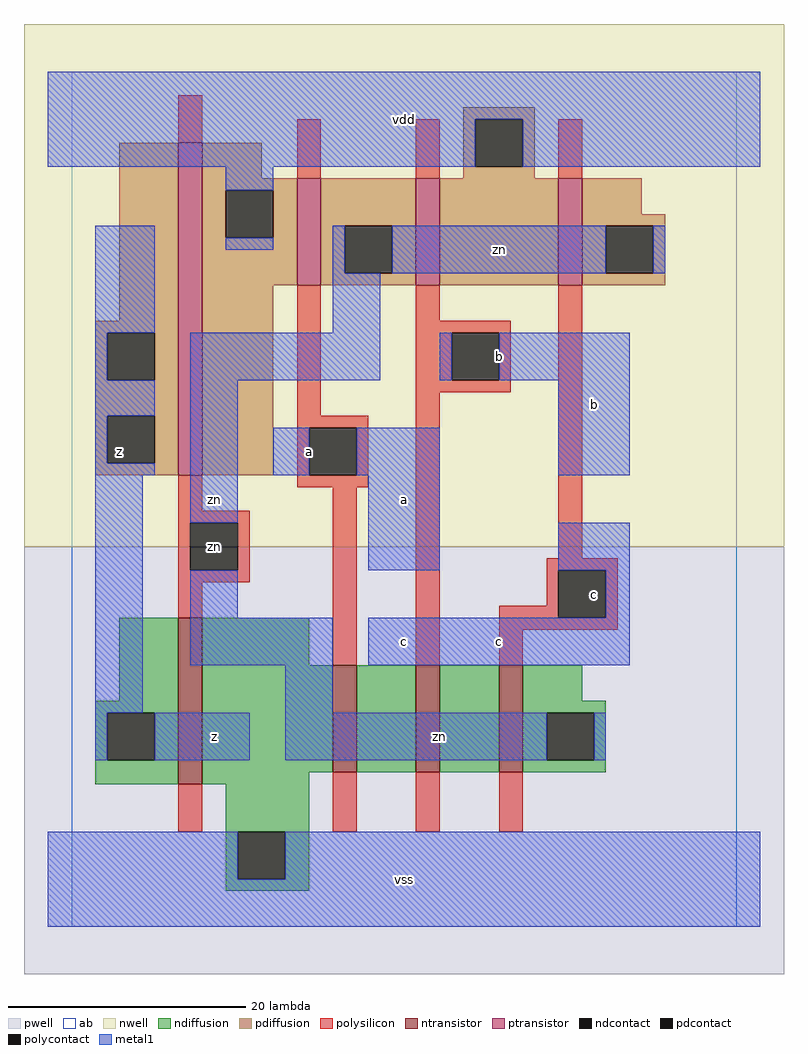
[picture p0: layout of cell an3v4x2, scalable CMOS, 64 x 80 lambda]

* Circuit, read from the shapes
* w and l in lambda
.subckt an3v4x2 a b c vdd vss z zn
M1 vss zn z VSUBS nfet w=14 l=2
M2 n1 a vss VSUBS nfet w=9 l=2
M3 n2 b n1 VSUBS nfet w=9 l=2
M4 zn c n2 VSUBS nfet w=9 l=2
M5 vdd zn z n3 pfet w=28 l=2
M6 zn a vdd n3 pfet w=9 l=2
M7 vdd b zn n3 pfet w=9 l=2
M8 zn c vdd n3 pfet w=9 l=2
.ends

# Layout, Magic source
magic
tech scmos
<< ab >>
rect 0 0 56 72
<< pwell >>
rect -4 -4 60 32
<< nwell >>
rect -4 32 60 76
<< polysilicon >>
rect 9 66 11 70
rect 19 63 21 68
rect 29 63 31 68
rect 41 63 43 68
rect 19 43 21 54
rect 29 51 31 54
rect 29 50 37 51
rect 29 46 32 50
rect 36 46 37 50
rect 29 45 37 46
rect 19 42 25 43
rect 19 38 20 42
rect 24 38 25 42
rect 9 35 11 38
rect 19 37 25 38
rect 9 34 15 35
rect 9 30 10 34
rect 14 30 15 34
rect 9 29 15 30
rect 9 26 11 29
rect 22 22 24 37
rect 29 22 31 45
rect 41 31 43 54
rect 40 30 46 31
rect 40 27 41 30
rect 36 26 41 27
rect 45 26 46 30
rect 36 25 46 26
rect 36 22 38 25
rect 9 8 11 12
rect 22 8 24 13
rect 29 8 31 13
rect 36 8 38 13
<< ndiffusion >>
rect 4 19 9 26
rect 2 18 9 19
rect 2 14 3 18
rect 7 14 9 18
rect 2 12 9 14
rect 11 22 20 26
rect 11 13 22 22
rect 24 13 29 22
rect 31 13 36 22
rect 38 19 43 22
rect 38 18 45 19
rect 38 14 40 18
rect 44 14 45 18
rect 38 13 45 14
rect 11 12 20 13
rect 13 8 20 12
rect 13 4 14 8
rect 18 4 20 8
rect 13 3 20 4
<< pdiffusion >>
rect 33 68 39 69
rect 4 51 9 66
rect 2 50 9 51
rect 2 46 3 50
rect 7 46 9 50
rect 2 43 9 46
rect 2 39 3 43
rect 7 39 9 43
rect 2 38 9 39
rect 11 63 16 66
rect 33 64 34 68
rect 38 64 39 68
rect 33 63 39 64
rect 11 62 19 63
rect 11 58 13 62
rect 17 58 19 62
rect 11 54 19 58
rect 21 59 29 63
rect 21 55 23 59
rect 27 55 29 59
rect 21 54 29 55
rect 31 54 41 63
rect 43 60 48 63
rect 43 59 50 60
rect 43 55 45 59
rect 49 55 50 59
rect 43 54 50 55
rect 11 38 17 54
<< metal1 >>
rect -2 68 58 72
rect -2 64 34 68
rect 38 64 58 68
rect 13 62 17 64
rect 2 50 7 59
rect 13 57 17 58
rect 22 55 23 59
rect 27 55 45 59
rect 49 55 50 59
rect 22 50 26 55
rect 2 46 3 50
rect 2 43 7 46
rect 2 39 3 43
rect 2 38 7 39
rect 10 46 26 50
rect 31 46 32 50
rect 36 46 47 50
rect 2 18 6 38
rect 10 34 14 46
rect 17 38 20 42
rect 24 38 31 42
rect 41 38 47 46
rect 25 30 31 38
rect 41 30 47 34
rect 10 26 14 30
rect 45 26 47 30
rect 10 22 22 26
rect 25 22 47 26
rect 18 18 22 22
rect 2 14 3 18
rect 7 14 15 18
rect 18 14 40 18
rect 44 14 45 18
rect -2 4 14 8
rect 18 4 58 8
rect -2 0 58 4
<< ntransistor >>
rect 9 12 11 26
rect 22 13 24 22
rect 29 13 31 22
rect 36 13 38 22
<< ptransistor >>
rect 9 38 11 66
rect 19 54 21 63
rect 29 54 31 63
rect 41 54 43 63
<< polycontact >>
rect 32 46 36 50
rect 20 38 24 42
rect 10 30 14 34
rect 41 26 45 30
<< ndcontact >>
rect 3 14 7 18
rect 40 14 44 18
rect 14 4 18 8
<< pdcontact >>
rect 3 46 7 50
rect 3 39 7 43
rect 34 64 38 68
rect 13 58 17 62
rect 23 55 27 59
rect 45 55 49 59
<< labels >>
rlabel polycontact 12 32 12 32 6 zn
rlabel pdcontact 4 40 4 40 6 z
rlabel metal1 12 16 12 16 6 z
rlabel metal1 20 40 20 40 6 a
rlabel metal1 12 36 12 36 6 zn
rlabel metal1 28 4 28 4 6 vss
rlabel metal1 28 24 28 24 6 c
rlabel metal1 36 24 36 24 6 c
rlabel metal1 28 36 28 36 6 a
rlabel metal1 36 48 36 48 6 b
rlabel metal1 28 68 28 68 6 vdd
rlabel metal1 31 16 31 16 6 zn
rlabel polycontact 44 28 44 28 6 c
rlabel metal1 44 44 44 44 6 b
rlabel metal1 36 57 36 57 6 zn
<< end >>
